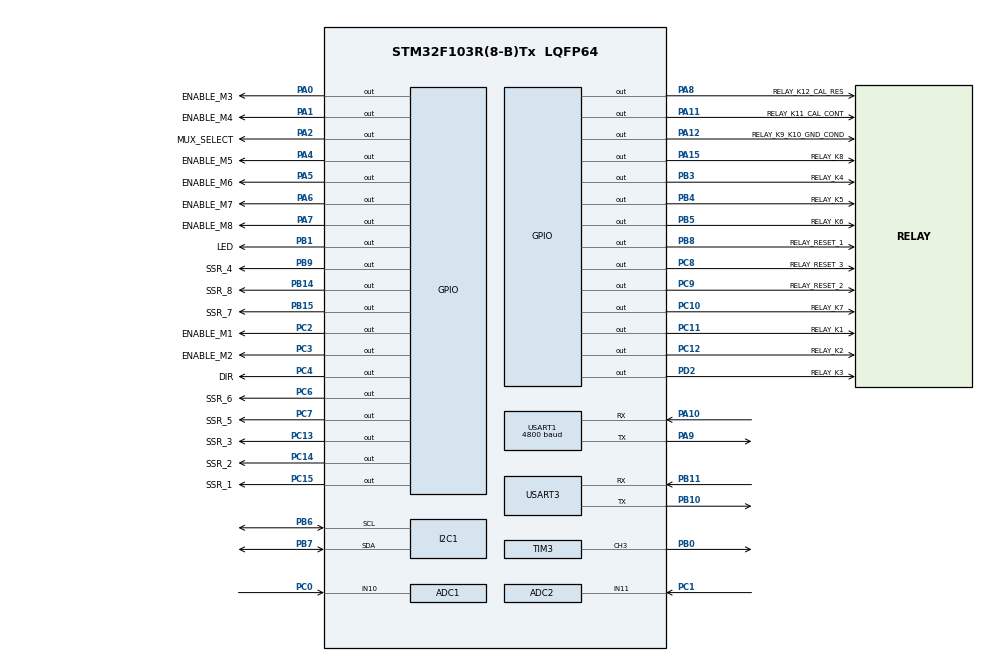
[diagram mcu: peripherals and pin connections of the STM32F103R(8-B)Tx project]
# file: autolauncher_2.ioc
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ADC1.Channel-0\#ChannelRegularConversion=ADC_CHANNEL_10
ADC1.NbrOfConversionFlag=1
ADC1.Rank-0\#ChannelRegularConversion=1
ADC1.SamplingTime-0\#ChannelRegularConversion=ADC_SAMPLETIME_1CYCLE_5
ADC1.master=1
ADC2.Channel-0\#ChannelRegularConversion=ADC_CHANNEL_11
ADC2.NbrOfConversionFlag=1
ADC2.Rank-0\#ChannelRegularConversion=1
ADC2.SamplingTime-0\#ChannelRegularConversion=ADC_SAMPLETIME_1CYCLE_5
Mcu.Family=STM32F1
Mcu.Name=STM32F103R(8-B)Tx
Mcu.Package=LQFP64
NVIC.PriorityGroup=NVIC_PRIORITYGROUP_4
PA0-WKUP.GPIO_Label=ENABLE_M3
PA0-WKUP.Signal=GPIO_Output
PA1.GPIO_Label=ENABLE_M4
PA1.Signal=GPIO_Output
PA10.Mode=Asynchronous
PA10.Signal=USART1_RX
PA11.GPIO_Label=RELAY_K11_CAL_CONT
PA11.Signal=GPIO_Output
PA12.GPIO_Label=RELAY_K9_K10_GND_COND
PA12.Signal=GPIO_Output
PA13.Mode=Serial_Wire
PA13.Signal=SYS_JTMS-SWDIO
PA14.Mode=Serial_Wire
PA14.Signal=SYS_JTCK-SWCLK
PA15.GPIO_Label=RELAY_K8
PA15.Signal=GPIO_Output
PA2.GPIO_Label=MUX_SELECT
PA2.Signal=GPIO_Output
PA4.GPIO_Label=ENABLE_M5
PA4.Signal=GPIO_Output
PA5.GPIO_Label=ENABLE_M6
PA5.Signal=GPIO_Output
PA6.GPIO_Label=ENABLE_M7
PA6.Signal=GPIO_Output
PA7.GPIO_Label=ENABLE_M8
PA7.Signal=GPIO_Output
PA8.GPIO_Label=RELAY_K12_CAL_RES
PA8.Signal=GPIO_Output
PA9.Mode=Asynchronous
PA9.Signal=USART1_TX
PB0.Signal=S_TIM3_CH3
PB1.GPIO_Label=LED
PB1.Signal=GPIO_Output
PB10.Mode=Asynchronous
PB10.Signal=USART3_TX
PB11.Mode=Asynchronous
PB11.Signal=USART3_RX
PB14.GPIO_Label=SSR_8
PB14.Signal=GPIO_Output
PB15.GPIO_Label=SSR_7
PB15.Signal=GPIO_Output
PB3.GPIO_Label=RELAY_K4
PB3.Signal=GPIO_Output
PB4.GPIO_Label=RELAY_K5
PB4.Signal=GPIO_Output
PB5.GPIO_Label=RELAY_K6
PB5.Signal=GPIO_Output
PB6.Mode=I2C
PB6.Signal=I2C1_SCL
PB7.Mode=I2C
PB7.Signal=I2C1_SDA
PB8.GPIO_Label=RELAY_RESET_1
PB8.Signal=GPIO_Output
PB9.GPIO_Label=SSR_4
PB9.Signal=GPIO_Output
PC0.Signal=ADCx_IN10
PC1.Signal=ADCx_IN11
PC10.GPIO_Label=RELAY_K7
PC10.Signal=GPIO_Output
PC11.GPIO_Label=RELAY_K1
PC11.Signal=GPIO_Output
PC12.GPIO_Label=RELAY_K2
PC12.Signal=GPIO_Output
PC13-TAMPER-RTC.GPIO_Label=SSR_3
PC13-TAMPER-RTC.Signal=GPIO_Output
PC14-OSC32_IN.GPIO_Label=SSR_2
PC14-OSC32_IN.Signal=GPIO_Output
PC15-OSC32_OUT.GPIO_Label=SSR_1
PC15-OSC32_OUT.Signal=GPIO_Output
PC2.GPIO_Label=ENABLE_M1
PC2.Signal=GPIO_Output
PC3.GPIO_Label=ENABLE_M2
PC3.Signal=GPIO_Output
PC4.GPIO_Label=DIR
PC4.Signal=GPIO_Output
PC6.GPIO_Label=SSR_6
PC6.Signal=GPIO_Output
PC7.GPIO_Label=SSR_5
PC7.Signal=GPIO_Output
PC8.GPIO_Label=RELAY_RESET_3
PC8.Signal=GPIO_Output
PC9.GPIO_Label=RELAY_RESET_2
PC9.Signal=GPIO_Output
PD0-OSC_IN.Mode=HSE-External-Oscillator
PD0-OSC_IN.Signal=RCC_OSC_IN
PD1-OSC_OUT.Mode=HSE-External-Oscillator
PD1-OSC_OUT.Signal=RCC_OSC_OUT
PD2.GPIO_Label=RELAY_K3
PD2.Signal=GPIO_Output
ProjectManager.HeapSize=0x200
ProjectManager.StackSize=0x400
ProjectManager.TargetToolchain=STM32CubeIDE
RCC.APB1Freq_Value=8000000
RCC.APB2Freq_Value=8000000
SH.ADCx_IN10.0=ADC1_IN10,IN10
SH.ADCx_IN11.0=ADC2_IN11,IN11
SH.S_TIM3_CH3.0=TIM3_CH3,Output Compare3 CH3
TIM3.AutoReloadPreload=TIM_AUTORELOAD_PRELOAD_ENABLE
TIM3.Channel-Output\ Compare3\ CH3=TIM_CHANNEL_3
TIM3.OCMode_3=TIM_OCMODE_TOGGLE
TIM3.Period=15-1
TIM3.Prescaler=1000-1
USART1.BaudRate=4800
USART1.VirtualMode=VM_ASYNC
USART3.VirtualMode=VM_ASYNC
VP_TIM3_VS_ClockSourceINT.Mode=Internal
board=custom

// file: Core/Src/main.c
/* USER CODE BEGIN Header */
/**
  ******************************************************************************
  * @file           : main.c
  * @brief          : Main program body
  ******************************************************************************
  * @attention
  *
  * Copyright (c) 2024 STMicroelectronics.
  * All rights reserved.
  *
  * This software is licensed under terms that can be found in the LICENSE file
  * in the root directory of this software component.
  * If no LICENSE file comes with this software, it is provided AS-IS.
  *
  ******************************************************************************
  */
/* USER CODE END Header */
#include "main.h"
#include "adc.h"
#include "i2c.h"
#include "tim.h"
#include "usart.h"
#include "gpio.h"

/* USER CODE BEGIN Includes */
#include <string.h>
#include <stdio.h>
#include <stdlib.h>
/* USER CODE END Includes */

/* USER CODE BEGIN PD */
#define WELCOME_MSG "*** Welcome to the Autolauncher V3.0 console test ***\r\n"
//#define MAIN_MENU "Select an option:\r\n1-Toggle green led\r\n2-Set relay\r\n3-Reset relay\r\n4-Run motor CW\r\n5-Run motor CCW\r\n6-MUX change to GPS\r\n7-MUX change to STM32\r\n8-Read Vin\r\n9-Write/read eeprom\r\n0-Read eeprom\r\n"
#define PROMPT "\r\n> Enter command: "
/* USER CODE END PD */

/* USER CODE BEGIN PV */
const char menu_relays[] = "***SELECT AN OPTION***\r\n"
		"\r\n>[0]-Toggle green led"
		"\r\n-- RELAYS --"
		"\r\n>[1]-Set K1 & SSR1\r\n>[2]-Set K2 & SSR2\r\n>[3]-Set K3 & SSR3\r\n>[4]-Set K4 & SSR4"
		"\r\n>[5]-Set K5 & SSR5\r\n>[6]-Set K6 & SSR6\r\n>[7]-Set K7 & SSR7\r\n>[8]-Set K8 & SSR8"
		"\r\n>[9]-Set K9 & K10 GND CONT\r\n>[q]-Set K11 CAL CONT\r\n>[w]-Set K12 CAL RES"
		"\r\n>[e]-Reset 1 K1-4 SSR1-4\r\n>[r]-Reset 2 K5-8 SSR5-8\r\n>[t]-Reset 3 K9-12 AUX RELAYS";
const char menu_functions[] = "\r\n-- AUX FUNCTIONS --"
		"\r\n>[y]-Read Vin\r\n>[u]-Write EEPROM\r\n>[i]-Read EEPROM\r\n>[o]-MUX input GPS-TX\r\n>[p]-MUX input STM32-TX";
const char menu_motors[] = "\r\n-- MOTORS --"
		"\r\n>[a]-Run M1 CW+\r\n>[s]-Run M1 CCW-\r\n>[d]-Run M2 CW+\r\n>[f]-Run M2 CCW-"
		"\r\n>[g]-Run M3 CW+\r\n>[h]-Run M3 CCW-\r\n>[j]-Run M4 CW+\r\n>[k]-Run M4 CCW-";

/* Motor Control variables */
typedef enum {CCW, CW} motorDir_t;
enum motorLock_t {mFree, mLocked} motorLock; // motor mutex to ensure one motor runs at a time
/* Relay Control variables*/
typedef enum {XBT1, XBT2, XBT3, XBT4, XBT5, XBT6, XBT7, XBT8, CAL_GND, CAL_CONT, CAL_RES, RESET1, RESET2, RESET3} activeRelay_t;
enum relayLock_t {reFree, reLocked} relayLock; // relay mutex to ensure one coil is driven at a time

/* USER CODE END PV */

void SystemClock_Config(void);
/* USER CODE BEGIN PFP */
void printWelcomeMessage(void); // Print initial message
char readInput(void); // wait for character
uint8_t processInput(char option); // process the character received
void drive_motor(GPIO_TypeDef * motorPort, uint16_t motorPin, motorDir_t motorDirection, uint32_t runtime ); // drive the desired motor
void drive_relay(GPIO_TypeDef * relayPort, uint16_t relayPin, uint8_t onTime); // drive the desired relay
void relay_init(void); // initialized relays in reset state
void motor_init(void); // disable all motor enable pins
/* USER CODE END PFP */

int main(void)
{

  /* MCU Configuration--------------------------------------------------------*/

  /* Reset of all peripherals, Initializes the Flash interface and the Systick. */
  HAL_Init();

  /* Configure the system clock */
  SystemClock_Config();

  /* Initialize all configured peripherals */
  MX_GPIO_Init();
  MX_TIM3_Init();
  MX_USART1_UART_Init();
  MX_ADC1_Init();
  MX_ADC2_Init();
  MX_I2C1_Init();
  MX_USART3_UART_Init();
  /* USER CODE BEGIN 2 */

  // Initialize stepper motors
  motor_init();
  motorLock = mFree;

  // initialize multiplexer
  HAL_GPIO_WritePin(MUX_SELECT_GPIO_Port, MUX_SELECT_Pin, SET); // SET = UART-tx / RESET = Din from GPS

  // Initialize relays
  relay_init();
  relayLock = reFree;

  // Options menu
  printWelcomeMessage();
  //char option = '\0';
  //uint8_t result = 0;

  /* USER CODE END 2 */

  /* Infinite loop */
  /* USER CODE BEGIN WHILE */
  while (1)
  {
	  char option = readInput();
	  uint8_t result = processInput(option);
    /* USER CODE END WHILE */

  }
}

void SystemClock_Config(void)
{
  RCC_OscInitTypeDef RCC_OscInitStruct = {0};
  RCC_ClkInitTypeDef RCC_ClkInitStruct = {0};
  RCC_PeriphCLKInitTypeDef PeriphClkInit = {0};

  /** Initializes the RCC Oscillators according to the specified parameters
  * in the RCC_OscInitTypeDef structure.
  */
  RCC_OscInitStruct.OscillatorType = RCC_OSCILLATORTYPE_HSI;
  RCC_OscInitStruct.HSIState = RCC_HSI_ON;
  RCC_OscInitStruct.HSICalibrationValue = RCC_HSICALIBRATION_DEFAULT;
  RCC_OscInitStruct.PLL.PLLState = RCC_PLL_NONE;
  if (HAL_RCC_OscConfig(&RCC_OscInitStruct) != HAL_OK)
  {
    Error_Handler();
  }

  /** Initializes the CPU, AHB and APB buses clocks
  */
  RCC_ClkInitStruct.ClockType = RCC_CLOCKTYPE_HCLK|RCC_CLOCKTYPE_SYSCLK
                              |RCC_CLOCKTYPE_PCLK1|RCC_CLOCKTYPE_PCLK2;
  RCC_ClkInitStruct.SYSCLKSource = RCC_SYSCLKSOURCE_HSI;
  RCC_ClkInitStruct.AHBCLKDivider = RCC_SYSCLK_DIV1;
  RCC_ClkInitStruct.APB1CLKDivider = RCC_HCLK_DIV1;
  RCC_ClkInitStruct.APB2CLKDivider = RCC_HCLK_DIV1;

  if (HAL_RCC_ClockConfig(&RCC_ClkInitStruct, FLASH_LATENCY_0) != HAL_OK)
  {
    Error_Handler();
  }
  PeriphClkInit.PeriphClockSelection = RCC_PERIPHCLK_ADC;
  PeriphClkInit.AdcClockSelection = RCC_ADCPCLK2_DIV2;
  if (HAL_RCCEx_PeriphCLKConfig(&PeriphClkInit) != HAL_OK)
  {
    Error_Handler();
  }
}

/* USER CODE BEGIN 4 */
/***************************************** START AUTOLAUNCHER FUNCTIONS *****************************************/

void printWelcomeMessage(void){
	HAL_UART_Transmit(&huart1, WELCOME_MSG, strlen(WELCOME_MSG), HAL_MAX_DELAY);
	HAL_UART_Transmit(&huart1, menu_relays, strlen(menu_relays), HAL_MAX_DELAY);
	HAL_UART_Transmit(&huart1, menu_functions, strlen(menu_functions), HAL_MAX_DELAY);
	HAL_UART_Transmit(&huart1, menu_motors, strlen(menu_motors), HAL_MAX_DELAY);
}

/* Read user input and return the option selected 1-2-3*/
char readInput(void){
	char rxBuffer[1];

	HAL_UART_Transmit(&huart1, PROMPT, strlen(PROMPT), HAL_MAX_DELAY);
	HAL_UART_Receive(&huart1, rxBuffer, 1, HAL_MAX_DELAY);
	HAL_UART_Transmit(&huart1, rxBuffer, 1, HAL_MAX_DELAY); // echo

	return rxBuffer[0];
}

uint8_t processInput(char option){
	// default
	char msg[50];
	// ADC measurement
	char adcmsg[50];
	float vin = 0.0;
	uint32_t adcReading = 0;

	// EEPROM
	uint8_t chipAddress = 0xA0; // 0b1010000 7 bit address
	uint8_t dataReceive[10];
	uint8_t dataByte[4]; // = {0x00, 5, 12, 4}; // store 5 in memory 0x00 and 12 in (n+1)= 0x01
	uint8_t startAddress[1] = {0x00};
	char output[50];

	// print what was selected
	sprintf(msg, "\r\n> Executing OPTION %d...\r\n",option);
	HAL_UART_Transmit(&huart1, msg, strlen(msg), HAL_MAX_DELAY);

	// Execute selected action
	switch(option){
	case '0': // toggle green led
		HAL_GPIO_TogglePin(LED_GPIO_Port, LED_Pin);
		return 0;
	case '1': // Set relay XBT1
		if(relayLock == reFree){
			relayLock = reLocked;
			drive_relay(RELAY_K1_GPIO_Port, RELAY_K1_Pin, 10); // SET relay k1
			drive_relay(SSR_1_GPIO_Port, SSR_1_Pin, 1); // SET SSR1
			relayLock = reFree;
		}

//		HAL_GPIO_WritePin(RELAY_K1_GPIO_Port, RELAY_K1_Pin, SET); // set relay
//		HAL_Delay(10); // relays need 4 ms to set/reset
//		HAL_GPIO_WritePin(RELAY_K1_GPIO_Port, RELAY_K1_Pin, RESET); // release coil
//		HAL_Delay(2);
		// SET SSR1
//		HAL_GPIO_WritePin(SSR_1_GPIO_Port, SSR_1_Pin, SET); // set SSR latch
//		HAL_Delay(1); // latch needs 300 ns to set/reset
//		HAL_GPIO_WritePin(SSR_1_GPIO_Port, SSR_1_Pin, RESET); // release SSR latch
//		HAL_Delay(1);
		return 0;
	case '2': // Set relay XBT2
		if(relayLock == reFree){
			relayLock = reLocked;
			drive_relay(RELAY_K2_GPIO_Port, RELAY_K2_Pin, 10); // SET relay k1
			drive_relay(SSR_2_GPIO_Port, SSR_2_Pin, 1); // SET SSR1
			relayLock = reFree;
		}
//		// SET relay k2
//		HAL_GPIO_WritePin(RELAY_K2_GPIO_Port, RELAY_K2_Pin, SET); // set relay
//		HAL_Delay(8);
//		HAL_GPIO_WritePin(RELAY_K2_GPIO_Port, RELAY_K2_Pin, RESET); // release coil
//		HAL_Delay(2);
//		// SET SSR2
//		HAL_GPIO_WritePin(SSR_2_GPIO_Port, SSR_2_Pin, SET); // set SSR latch
//		HAL_Delay(1);
//		HAL_GPIO_WritePin(SSR_2_GPIO_Port, SSR_2_Pin, RESET); // release SSR latch
//		HAL_Delay(1);
		return 0;
	case '3': // Set relay XBT3
		if(relayLock == reFree){
			relayLock = reLocked;
			drive_relay(RELAY_K3_GPIO_Port, RELAY_K3_Pin, 10); // SET relay k3
			drive_relay(SSR_3_GPIO_Port, SSR_3_Pin, 1); // SET SSR3
			relayLock = reFree;
		}
//		// SET relay k3
//		HAL_GPIO_WritePin(RELAY_K3_GPIO_Port, RELAY_K3_Pin, SET); // set relay
//		HAL_Delay(8);
//		HAL_GPIO_WritePin(RELAY_K3_GPIO_Port, RELAY_K3_Pin, RESET); // release coil
//		HAL_Delay(2);
//		// SET SSR3
//		HAL_GPIO_WritePin(SSR_3_GPIO_Port, SSR_3_Pin, SET); // set SSR latch
//		HAL_Delay(1);
//		HAL_GPIO_WritePin(SSR_3_GPIO_Port, SSR_3_Pin, RESET); // release SSR latch
//		HAL_Delay(1);
		return 0;
	case '4': // Set relay XBT4
		if(relayLock == reFree){
			relayLock = reLocked;
			drive_relay(RELAY_K4_GPIO_Port, RELAY_K4_Pin, 10); // SET relay k4
			drive_relay(SSR_4_GPIO_Port, SSR_4_Pin, 1); // SET SSR4
			relayLock = reFree;
		}
//		// SET relay k4
//		HAL_GPIO_WritePin(RELAY_K4_GPIO_Port, RELAY_K4_Pin, SET); // set relay
//		HAL_Delay(8);
//		HAL_GPIO_WritePin(RELAY_K4_GPIO_Port, RELAY_K4_Pin, RESET); // release coil
//		HAL_Delay(2);
//		// SET SSR4
//		HAL_GPIO_WritePin(SSR_4_GPIO_Port, SSR_4_Pin, SET); // set SSR latch
//		HAL_Delay(1);
//		HAL_GPIO_WritePin(SSR_4_GPIO_Port, SSR_4_Pin, RESET); // release SSR latch
//		HAL_Delay(1);
		return 0;
	case '5': // Set relay XBT5
		if(relayLock == reFree){
			relayLock = reLocked;
			drive_relay(RELAY_K5_GPIO_Port, RELAY_K5_Pin, 10); // SET relay k5
			drive_relay(SSR_5_GPIO_Port, SSR_5_Pin, 1); // SET SSR5
			relayLock = reFree;
		}

//		// SET relay k5
//		HAL_GPIO_WritePin(RELAY_K5_GPIO_Port, RELAY_K5_Pin, SET); // set relay
//		HAL_Delay(8);
//		HAL_GPIO_WritePin(RELAY_K5_GPIO_Port, RELAY_K5_Pin, RESET); // release coil
//		HAL_Delay(2);
//		// SET SSR5
//		HAL_GPIO_WritePin(SSR_5_GPIO_Port, SSR_5_Pin, SET); // set SSR latch
//		HAL_Delay(1);
//		HAL_GPIO_WritePin(SSR_5_GPIO_Port, SSR_5_Pin, RESET); // release SSR latch
//		HAL_Delay(1);
		return 0;
	case '6': // Set relay XBT6
		if(relayLock == reFree){
			relayLock = reLocked;
			drive_relay(RELAY_K6_GPIO_Port, RELAY_K6_Pin, 10); // SET relay k6
			drive_relay(SSR_6_GPIO_Port, SSR_6_Pin, 1); // SET SSR6
			relayLock = reFree;
		}
//		// SET relay k6
//		HAL_GPIO_WritePin(RELAY_K6_GPIO_Port, RELAY_K6_Pin, SET); // set relay
//		HAL_Delay(8);
//		HAL_GPIO_WritePin(RELAY_K6_GPIO_Port, RELAY_K6_Pin, RESET); // release coil
//		HAL_Delay(2);
//		// SET SSR6
//		HAL_GPIO_WritePin(SSR_6_GPIO_Port, SSR_6_Pin, SET); // set SSR latch
//		HAL_Delay(1);
//		HAL_GPIO_WritePin(SSR_6_GPIO_Port, SSR_6_Pin, RESET); // release SSR latch
//		HAL_Delay(1);
		return 0;
	case '7': // Set relay XBT7
		if(relayLock == reFree){
			relayLock = reLocked;
			drive_relay(RELAY_K7_GPIO_Port, RELAY_K7_Pin, 10); // SET relay k7
			drive_relay(SSR_7_GPIO_Port, SSR_7_Pin, 1); // SET SSR7
			relayLock = reFree;
		}
//		// SET relay k7
//		HAL_GPIO_WritePin(RELAY_K7_GPIO_Port, RELAY_K7_Pin, SET); // set relay
//		HAL_Delay(8);
//		HAL_GPIO_WritePin(RELAY_K7_GPIO_Port, RELAY_K7_Pin, RESET); // release coil
//		HAL_Delay(2);
//		// SET SSR7
//		HAL_GPIO_WritePin(SSR_7_GPIO_Port, SSR_7_Pin, SET); // set SSR latch
//		HAL_Delay(1);
//		HAL_GPIO_WritePin(SSR_7_GPIO_Port, SSR_7_Pin, RESET); // release SSR latch
//		HAL_Delay(1);
		return 0;
	case '8': // Set relay XBT8
		if(relayLock == reFree){
			relayLock = reLocked;
			drive_relay(RELAY_K8_GPIO_Port, RELAY_K8_Pin, 10); // SET relay k8
			drive_relay(SSR_8_GPIO_Port, SSR_8_Pin, 1); // SET SSR8
			relayLock = reFree;
		}
//		// SET relay k8
//		HAL_GPIO_WritePin(RELAY_K8_GPIO_Port, RELAY_K8_Pin, SET); // set relay
//		HAL_Delay(8);
//		HAL_GPIO_WritePin(RELAY_K8_GPIO_Port, RELAY_K8_Pin, RESET); // release coil
//		HAL_Delay(2);
//		// SET SSR8
//		HAL_GPIO_WritePin(SSR_8_GPIO_Port, SSR_8_Pin, SET); // set SSR latch
//		HAL_Delay(1);
//		HAL_GPIO_WritePin(SSR_8_GPIO_Port, SSR_8_Pin, RESET); // release SSR latch
//		HAL_Delay(1);
		return 0;
	case '9': // Set relay GND
		if(relayLock == reFree){
			relayLock = reLocked;
			drive_relay(RELAY_K9_K10_GND_COND_GPIO_Port, RELAY_K9_K10_GND_COND_Pin, 10); // SET relay k9 k10
			relayLock = reFree;
		}
//		// SET relay k9 k10
//		HAL_GPIO_WritePin(RELAY_K9_K10_GND_COND_GPIO_Port, RELAY_K9_K10_GND_COND_Pin, SET); // set relay
//		HAL_Delay(8);
//		HAL_GPIO_WritePin(RELAY_K9_K10_GND_COND_GPIO_Port, RELAY_K9_K10_GND_COND_Pin, RESET); // release coil
//		HAL_Delay(2);
		return 0;
	case 'q': // Set relay CAL CONT
		if(relayLock == reFree){
			relayLock = reLocked;
			drive_relay(RELAY_K11_CAL_CONT_GPIO_Port, RELAY_K11_CAL_CONT_Pin, 10); // SET relay k11
			relayLock = reFree;
		}
//		// SET relay k11
//		HAL_GPIO_WritePin(RELAY_K11_CAL_CONT_GPIO_Port, RELAY_K11_CAL_CONT_Pin, SET); // set relay
//		HAL_Delay(8);
//		HAL_GPIO_WritePin(RELAY_K11_CAL_CONT_GPIO_Port, RELAY_K11_CAL_CONT_Pin, RESET); // release coil
//		HAL_Delay(2);
		return 0;
	case 'w': // Set relay CAL RES
		if(relayLock == reFree){
			relayLock = reLocked;
			drive_relay(RELAY_K12_CAL_RES_GPIO_Port, RELAY_K12_CAL_RES_Pin, 10); // SET relay k12
			relayLock = reFree;
		}
//		// SET relay k12
//		HAL_GPIO_WritePin(RELAY_K12_CAL_RES_GPIO_Port, RELAY_K12_CAL_RES_Pin, SET); // set relay
//		HAL_Delay(8);
//		HAL_GPIO_WritePin(RELAY_K12_CAL_RES_GPIO_Port, RELAY_K12_CAL_RES_Pin, RESET); // release coil
//		HAL_Delay(2);
		return 0;
	case 'e': // Reset 1 (1st half)
		if(relayLock == reFree){
			relayLock = reLocked;
			drive_relay(RELAY_RESET_1_GPIO_Port, RELAY_RESET_1_Pin, 10); // RESET relay k1, k2, k3, k4, SSR1, SSR2, SSR3, SSR4
			relayLock = reFree;
		}
//		// RESET relay k1, k2, k3, k4, SSR1, SSR2, SSR3, SSR4
//		HAL_GPIO_WritePin(RELAY_RESET_1_GPIO_Port, RELAY_RESET_1_Pin, SET); // reset relay and SSR
//		HAL_Delay(8);
//		HAL_GPIO_WritePin(RELAY_RESET_1_GPIO_Port, RELAY_RESET_1_Pin, RESET); // release reset coil
//		HAL_Delay(2);
		return 0;
	case 'r': // Reset 2 (2nd half)
		if(relayLock == reFree){
			relayLock = reLocked;
			drive_relay(RELAY_RESET_2_GPIO_Port, RELAY_RESET_2_Pin, 10); // RESET relay k5, k6, k7, k8, SSR5, SSR6, SSR7, SSR8
			relayLock = reFree;
		}
//		// RESET relay k5, k6, k7, k8, SSR5, SSR6, SSR7, SSR8
//		HAL_GPIO_WritePin(RELAY_RESET_2_GPIO_Port, RELAY_RESET_2_Pin, SET); // reset relay and SSR
//		HAL_Delay(8);
//		HAL_GPIO_WritePin(RELAY_RESET_2_GPIO_Port, RELAY_RESET_2_Pin, RESET); // release reset coil
//		HAL_Delay(2);
		return 0;
	case 't': // Reset 3 (aux relays)
		if(relayLock == reFree){
			relayLock = reLocked;
			drive_relay(RELAY_RESET_3_GPIO_Port, RELAY_RESET_3_Pin, 10); // RESET relay k9, k10, k11, k12
			relayLock = reFree;
		}
//		// RESET relay k9, k10, k11, k12
//		HAL_GPIO_WritePin(RELAY_RESET_3_GPIO_Port, RELAY_RESET_3_Pin, SET); // reset relay and SSR
//		HAL_Delay(8);
//		HAL_GPIO_WritePin(RELAY_RESET_3_GPIO_Port, RELAY_RESET_3_Pin, RESET); // release reset coil
//		HAL_Delay(2);
		return 0;
	case 'y': // read ADC Vin
		// take 10 an average of samples
		for(uint8_t i=0; i<10; i++){
			HAL_ADC_Start(&hadc1);
			HAL_ADC_PollForConversion(&hadc1, 100);
			adcReading += HAL_ADC_GetValue(&hadc1);
			HAL_ADC_Stop(&hadc1);
			HAL_Delay(1);
		}
		adcReading = adcReading/10;
		vin = adcReading * 0.0083 + 0.3963; // 15.23 store coef. in eeprom
		// get 1 decimal
		int dec = (int)(vin * 10 - ((int)vin * 10)); // 152 - 150 = 2

		sprintf(adcmsg, "[AD# %d] Vin= %d.%d V\r\n", (int)adcReading,(int)vin, dec);
		HAL_UART_Transmit(&huart1, adcmsg, strlen(adcmsg), HAL_MAX_DELAY);
		return 0;
	case 'u': // write eeprom
		// store 2 8-bit values in eeprom
		uint8_t a,b;
		char rxBuffer[1];
		HAL_UART_Transmit(&huart1, "Val-1= ", strlen("Val-1= "), HAL_MAX_DELAY);
		HAL_UART_Receive(&huart1, rxBuffer, 1, HAL_MAX_DELAY);
		HAL_UART_Transmit(&huart1, rxBuffer, 1, HAL_MAX_DELAY); // echo
		a = atoi(rxBuffer);
		HAL_UART_Transmit(&huart1, "\r\nVal-2= ", strlen("\r\nVal-2= "), HAL_MAX_DELAY);
		HAL_UART_Receive(&huart1, rxBuffer, 1, HAL_MAX_DELAY);
		HAL_UART_Transmit(&huart1, rxBuffer, 1, HAL_MAX_DELAY); // echo
		b = atoi(rxBuffer);

		// store 2 bytes starting in address 0x00 total 1 kbit = 1024 bit = 128 bytes
		// 1 page = 8 bytes >> 16 pages >> (0x00) 0-7, 8-15, 16-23, ... 120-127 (0x7F)
		dataByte[0] = 0x00;
		dataByte[1] = a;
		dataByte[2] = b;
		dataByte[3] = 249; // 0-255 8bits
		HAL_I2C_Master_Transmit(&hi2c1, chipAddress , dataByte, 4, HAL_MAX_DELAY); // send word address, value
		HAL_Delay(10);

		// read 2 bytes from data address 0x00, 0x01
		HAL_I2C_Master_Transmit(&hi2c1, chipAddress , startAddress, 1, HAL_MAX_DELAY); // dummy write with word address 0x00 as starting address
		HAL_Delay(10);
		HAL_I2C_Master_Receive(&hi2c1, chipAddress, dataReceive, 3, HAL_MAX_DELAY);

		sprintf(output,"\r\nStored values: %i, %i, %i\r\n", dataReceive[0], dataReceive[1], dataReceive[2]);
		HAL_UART_Transmit(&huart1, output, strlen(output), HAL_MAX_DELAY);
		return 0;
	case 'i': // read epprom
		// read 2 bytes from data address 0x00, 0x01
		HAL_I2C_Master_Transmit(&hi2c1, chipAddress , startAddress, 1, HAL_MAX_DELAY); // dummy write with word address 0x00 as starting address
		HAL_Delay(10);
		HAL_I2C_Master_Receive(&hi2c1, chipAddress, dataReceive, 3, HAL_MAX_DELAY);

		sprintf(output,"Stored values: %i, %i, %i\r\n", dataReceive[0], dataReceive[1], dataReceive[2]);
		HAL_UART_Transmit(&huart1, output, strlen(output), HAL_MAX_DELAY);
		return 0;
	case 'o': // change MUX to GPS
		HAL_GPIO_WritePin(MUX_SELECT_GPIO_Port, MUX_SELECT_Pin, RESET);
		return 0;
	case 'p': // change MUX to STM32
		HAL_GPIO_WritePin(MUX_SELECT_GPIO_Port, MUX_SELECT_Pin, SET);
		return 0;
	case 'a': // Run motor 1 CW
		if(motorLock == mFree){
			motorLock = mLocked;
			drive_motor(ENABLE_M1_GPIO_Port, ENABLE_M1_Pin, CW, 5000);
			motorLock = mFree;
		}
		return 0;

	case 's': // Run motor 1 CCW
		if(motorLock == mFree){
			motorLock = mLocked;
			drive_motor(ENABLE_M1_GPIO_Port, ENABLE_M1_Pin, CCW, 5000);
			motorLock = mFree;
		}
		return 0;
	case 'd': // Run motor 2 CW
		if(motorLock == mFree){
			motorLock = mLocked;
			drive_motor(ENABLE_M2_GPIO_Port, ENABLE_M2_Pin, CW, 5000);
			motorLock = mFree;
		}
		return 0;
	case 'f': // Run motor 2 CCW
		if(motorLock == mFree){
			motorLock = mLocked;
			drive_motor(ENABLE_M2_GPIO_Port, ENABLE_M2_Pin, CCW, 5000);
			motorLock = mFree;
		}
		return 0;
	case 'g': // Run motor 3 CW
		if(motorLock == mFree){
			motorLock = mLocked;
			drive_motor(ENABLE_M3_GPIO_Port, ENABLE_M3_Pin, CW, 5000);
			motorLock = mFree;
		}
		return 0;
	case 'h': // Run motor 3 CCW
		if(motorLock == mFree){
			motorLock = mLocked;
			drive_motor(ENABLE_M3_GPIO_Port, ENABLE_M3_Pin, CCW, 5000);
			motorLock = mFree;
		}
		return 0;
	case 'j': // Run motor 4 CW
		if(motorLock == mFree){
			motorLock = mLocked;
			drive_motor(ENABLE_M4_GPIO_Port, ENABLE_M4_Pin, CW, 5000);
			motorLock = mFree;
		}
		return 0;
	case 'k': // Run motor 4 CCW
		if(motorLock == mFree){
			motorLock = mLocked;
			drive_motor(ENABLE_M4_GPIO_Port, ENABLE_M4_Pin, CCW, 5000);
			motorLock = mFree;
		}
		return 0;
	case 'l': // Run motor 5 CW
		if(motorLock == mFree){
			motorLock = mLocked;
			drive_motor(ENABLE_M5_GPIO_Port, ENABLE_M5_Pin, CW, 5000);
			motorLock = mFree;
		}
		return 0;
	case ';': // Run motor 5 CCW
		if(motorLock == mFree){
			motorLock = mLocked;
			drive_motor(ENABLE_M5_GPIO_Port, ENABLE_M5_Pin, CCW, 5000);
			motorLock = mFree;
		}
		return 0;

	default:
		sprintf(msg, "\r\n> %d is not a valid option!", option);
		HAL_UART_Transmit(&huart1, msg, strlen(msg), HAL_MAX_DELAY);
		return 1;
	}
}

void relay_init(void){
	drive_relay(RELAY_RESET_1_GPIO_Port, RELAY_RESET_1_Pin, 10);  // RESET relay k1, k2, k3, k4, SSR1, SSR2, SSR3, SSR4
//	  HAL_GPIO_WritePin(RELAY_RESET_1_GPIO_Port, RELAY_RESET_1_Pin, SET); // reset relay
//	  HAL_Delay(10);
//	  HAL_GPIO_WritePin(RELAY_RESET_1_GPIO_Port, RELAY_RESET_1_Pin, RESET); // release reset coil
//	  HAL_Delay(5);
	drive_relay(RELAY_RESET_2_GPIO_Port, RELAY_RESET_2_Pin, 10); // RESET relay k5, k6, k7, k8, SSR5, SSR6, SSR7, SSR8
//	  HAL_GPIO_WritePin(RELAY_RESET_2_GPIO_Port, RELAY_RESET_2_Pin, SET); // reset relay
//	  HAL_Delay(10);
//	  HAL_GPIO_WritePin(RELAY_RESET_2_GPIO_Port, RELAY_RESET_2_Pin, RESET); // release reset coil
//	  HAL_Delay(5);
	drive_relay(RELAY_RESET_3_GPIO_Port, RELAY_RESET_3_Pin, 10); // RESET relay k9, k10, k11, k12 (GND, calibration and continuity circuit)
//	  HAL_GPIO_WritePin(RELAY_RESET_3_GPIO_Port, RELAY_RESET_3_Pin, SET); // reset relay
//	  HAL_Delay(10);
//	  HAL_GPIO_WritePin(RELAY_RESET_3_GPIO_Port, RELAY_RESET_3_Pin, RESET); // release reset coil
//	  HAL_Delay(5);
}

void drive_relay(GPIO_TypeDef * relayPort, uint16_t relayPin, uint8_t onTime){
	// SET relay k
	HAL_GPIO_WritePin(relayPort, relayPin, SET); // set
	HAL_Delay(onTime); // time coil is driven in ms
	HAL_GPIO_WritePin(relayPort, relayPin, RESET); // release
	HAL_Delay(2);
}

void motor_init(void){
	  HAL_GPIO_WritePin(ENABLE_M1_GPIO_Port, ENABLE_M1_Pin, RESET); // start disabled
	  HAL_GPIO_WritePin(ENABLE_M2_GPIO_Port, ENABLE_M2_Pin, RESET); // start disabled
	  HAL_GPIO_WritePin(ENABLE_M3_GPIO_Port, ENABLE_M3_Pin, RESET); // start disabled
	  HAL_GPIO_WritePin(ENABLE_M4_GPIO_Port, ENABLE_M4_Pin, RESET); // start disabled
	  HAL_GPIO_WritePin(ENABLE_M5_GPIO_Port, ENABLE_M5_Pin, RESET); // start disabled
	  HAL_GPIO_WritePin(ENABLE_M6_GPIO_Port, ENABLE_M6_Pin, RESET); // start disabled
	  HAL_GPIO_WritePin(ENABLE_M7_GPIO_Port, ENABLE_M7_Pin, RESET); // start disabled
	  HAL_GPIO_WritePin(ENABLE_M8_GPIO_Port, ENABLE_M8_Pin, RESET); // start disabled
}

void drive_motor(GPIO_TypeDef * motorPort, uint16_t motorPin, motorDir_t motorDirection, uint32_t runtime ){
	uint32_t t0, adcReading = 0;
	uint16_t motor_i = 0;
	char adcmsg[50];

	HAL_TIM_OC_Start(&htim3, TIM_CHANNEL_3 ); // Start STEP signal >> counter toggle to toggle every 20/1000 sec = 50hz
	// motor
	HAL_GPIO_WritePin(motorPort, motorPin, RESET); // make sure to disable driver
	HAL_Delay(10); // wait for the motor to stop
	HAL_GPIO_WritePin(DIR_GPIO_Port,DIR_Pin, motorDirection); // set motor direction
	HAL_GPIO_WritePin(motorPort, motorPin, SET); // enable driver to run motor
	// read current
	// should launch a timer here and stop it after X seconds
	t0 = HAL_GetTick();

	for (uint8_t ci = 1; ci < 20; ci++){
		adcReading = 0;
		for(uint8_t cj = 0; cj<100; cj++){
			HAL_ADC_Start(&hadc2);
			HAL_ADC_PollForConversion(&hadc2, 100);
			adcReading += HAL_ADC_GetValue(&hadc2);
			HAL_ADC_Stop(&hadc2);
			HAL_Delay(1);
		}
		adcReading = adcReading/100;
		motor_i = (uint16_t) (adcReading * 0.163 + 7.3581); // mA - opAmp G = 50, Rsense = 0.10 ohm

		sprintf(adcmsg, "[AD# %d] Im_%d = %d mA\r\n", (int)adcReading, ci ,(int) motor_i);
		HAL_UART_Transmit(&huart1, adcmsg, strlen(adcmsg), HAL_MAX_DELAY);
		HAL_Delay(1000);
		if((HAL_GetTick() - t0) > runtime) break;
	}
	HAL_GPIO_WritePin(motorPort, motorPin, RESET); // disable driver
	HAL_TIM_OC_Stop(&htim3, TIM_CHANNEL_3 );

}

/***************************************** END AUTOLAUNCHER FUNCTIONS *****************************************/
/* USER CODE END 4 */

void Error_Handler(void)
{
  __disable_irq();
  while (1)
  {
  }
}
